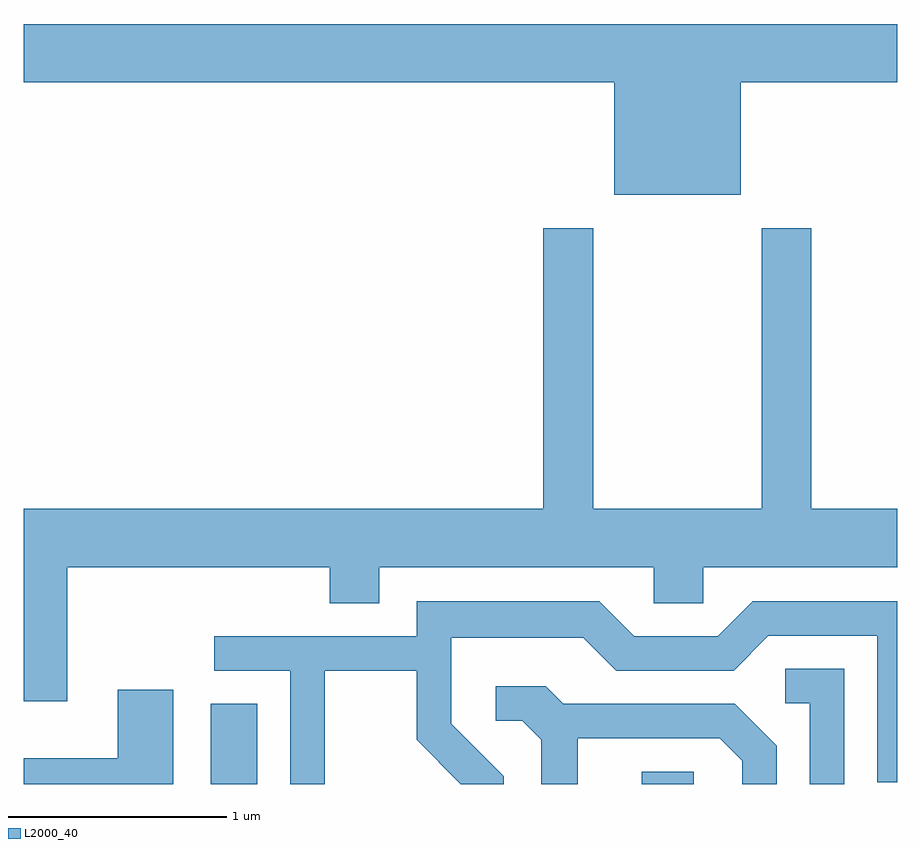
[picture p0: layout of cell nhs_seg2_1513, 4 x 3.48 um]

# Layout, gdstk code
import gdstk
lib = gdstk.Library(unit=1e-6, precision=1e-09)
def R(c, l, rs):  # rectangles x0, y0, x1, y1
    for r in rs: c.add(gdstk.rectangle(r[:2], r[2:], *l))
def P(c, l, *ps):  # polygons
    for p in ps: c.add(gdstk.Polygon(p, *l))
L2000_40 = (2000, 40)

nhs_seg2_1513 = lib.new_cell('nhs_seg2_1513')
R(nhs_seg2_1513, L2000_40, [(230.466,1011.802,230.679,1012.169), (232.441,1011.802,232.679,1011.859)])
P(nhs_seg2_1513, L2000_40, [(232.894,1015.016),(233.611,1015.016),(233.611,1015.284),(229.611,1015.284),(229.611,1015.016),(232.316,1015.016),(232.316,1014.501),(232.894,1014.501)],
  [(229.809,1012.796),(231.011,1012.796),(231.011,1012.631),(231.239,1012.631),(231.239,1012.796),(232.496,1012.796),(232.496,1012.631),(232.724,1012.631),(232.724,1012.796),(233.611,1012.796),(233.611,1013.064),(233.219,1013.064),(233.219,1014.349),(232.991,1014.349),(232.991,1013.064),(232.219,1013.064),(232.219,1014.349),(231.991,1014.349),(231.991,1013.064),(229.611,1013.064),(229.611,1012.181),(229.809,1012.181)],
  [(230.989,1012.321),(231.411,1012.321),(231.411,1012.004),(231.613,1011.802),(231.809,1011.802),(231.809,1011.837),(231.569,1012.077),(231.569,1012.471),(232.174,1012.471),(232.324,1012.321),(232.862,1012.321),(233.022,1012.481),(233.521,1012.481),(233.521,1011.811),(233.611,1011.811),(233.611,1012.639),(232.949,1012.639),(232.789,1012.479),(232.407,1012.479),(232.247,1012.639),(231.411,1012.639),(231.411,1012.479),(230.483,1012.479),(230.483,1012.321),(230.831,1012.321),(230.831,1011.802),(230.989,1011.802)],
  [(233.369,1012.329),(233.098,1012.329),(233.098,1012.171),(233.211,1012.171),(233.211,1011.802),(233.369,1011.802)],
  [(232.149,1012.011),(232.799,1012.011),(232.901,1011.909),(232.901,1011.802),(233.059,1011.802),(233.059,1011.977),(232.867,1012.169),(232.082,1012.169),(232.002,1012.249),(231.773,1012.249),(231.773,1012.091),(231.894,1012.091),(231.981,1012.004),(231.981,1011.802),(232.149,1011.802)],
  [(230.294,1012.234),(230.041,1012.234),(230.041,1011.919),(229.611,1011.919),(229.611,1011.802),(230.294,1011.802)])

lib.write_gds('nhs_seg2_1513.gds')
